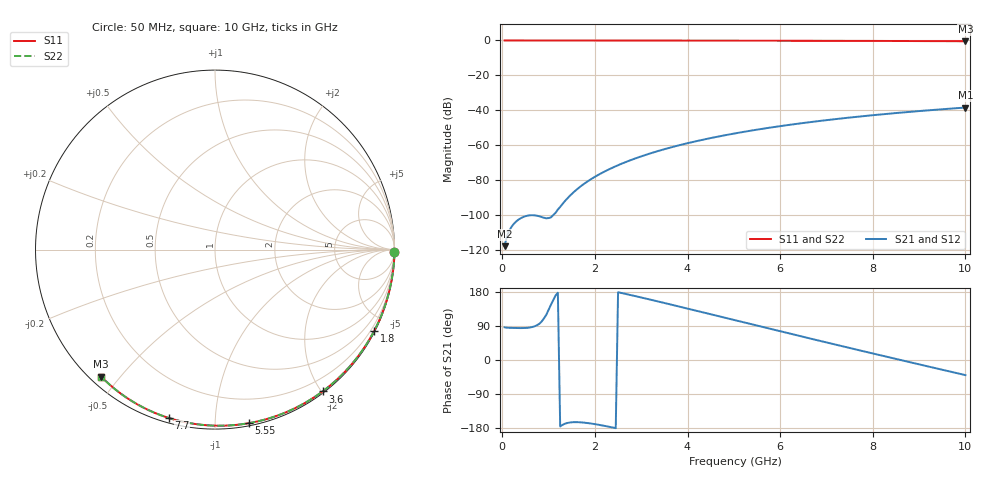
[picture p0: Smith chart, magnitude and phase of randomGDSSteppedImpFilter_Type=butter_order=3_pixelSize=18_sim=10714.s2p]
! freq	dB(S11)	phase(S11)	dB(S12)	phase(S12)
!  dB(S21)	phase(S21)	dB(S22)	phase(S22)
!S-par simulation data
#  GHz  S  DB  R 50
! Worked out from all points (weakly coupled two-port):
!   200 points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, 50 MHz to 10 GHz, reference 50 ohm
!   highest |S21| = -38.39 dB at 10 GHz (marker M1); lowest = -117.7 dB at 50 MHz (marker M2)
!   lowest |S11| = -0.4 dB at 10 GHz (marker M3), VSWR 39.16, Z = 1.53 - j22.3 ohm
!   |S11| at or under -10 dB: nowhere
!   |S22| runs from -0.4 to 0.0 dB; largest |S21 - S12| = 0
!   S11 on the Smith chart (normalised r, x): 50 MHz: open; 1.8 GHz: 0.04, -4.16; 3.6 GHz: 0.02, -2.01; 5.55 GHz: 0.02, -1.22; 7.7 GHz: 0.02, -0.76; 10 GHz: 0.03, -0.45
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0.05  -0.00 -0.8  -117.69 86.3  -117.69 86.3  -0.00 -0.8
0.9  -0.02 -13.6  -101.45 109.8  -101.45 109.8  -0.02 -13.6
1.75  -0.03 -26.3  -82.31 -165.1  -82.31 -165.1  -0.03 -26.3
1.8  -0.03 -27.0  -81.37 -165.7  -81.37 -165.7  -0.03 -27.0
1.85  -0.04 -27.7  -80.48 -166.5  -80.48 -166.5  -0.04 -27.7
1.9  -0.04 -28.5  -79.62 -167.3  -79.62 -167.3  -0.04 -28.5
2.05  -0.04 -30.7  -77.23 -170.3  -77.23 -170.3  -0.04 -30.7
2.25  -0.04 -33.6  -74.42 -174.8  -74.42 -174.8  -0.04 -33.6
2.45  -0.05 -36.5  -71.94 -179.9  -71.94 -179.9  -0.05 -36.5
2.65  -0.05 -39.4  -69.72 174.8  -69.72 174.8  -0.05 -39.4
3  -0.06 -44.4  -66.31 165.0  -66.31 165.0  -0.06 -44.4
3.4  -0.07 -50.0  -62.97 153.4  -62.97 153.4  -0.07 -50.0
3.6  -0.07 -52.8  -61.48 147.5  -61.48 147.5  -0.07 -52.8
4.3  -0.09 -62.4  -56.97 126.7  -56.97 126.7  -0.09 -62.4
5.05  -0.11 -72.4  -53.04 104.2  -53.04 104.2  -0.11 -72.4
5.55  -0.13 -78.9  -50.81 89.3  -50.81 89.3  -0.13 -78.9
6.1  -0.15 -85.9  -48.64 72.9  -48.64 72.9  -0.15 -85.9
6.7  -0.18 -93.3  -46.54 55.2  -46.54 55.2  -0.18 -93.3
7.7  -0.24 -105.4  -43.56 25.9  -43.56 25.9  -0.24 -105.4
8.35  -0.29 -113.0  -41.89 7.1  -41.89 7.1  -0.29 -113.0
9.15  -0.36 -122.2  -40.07 -15.7  -40.07 -15.7  -0.36 -122.2
10  -0.44 -131.8  -38.39 -39.9  -38.39 -39.9  -0.44 -131.8
